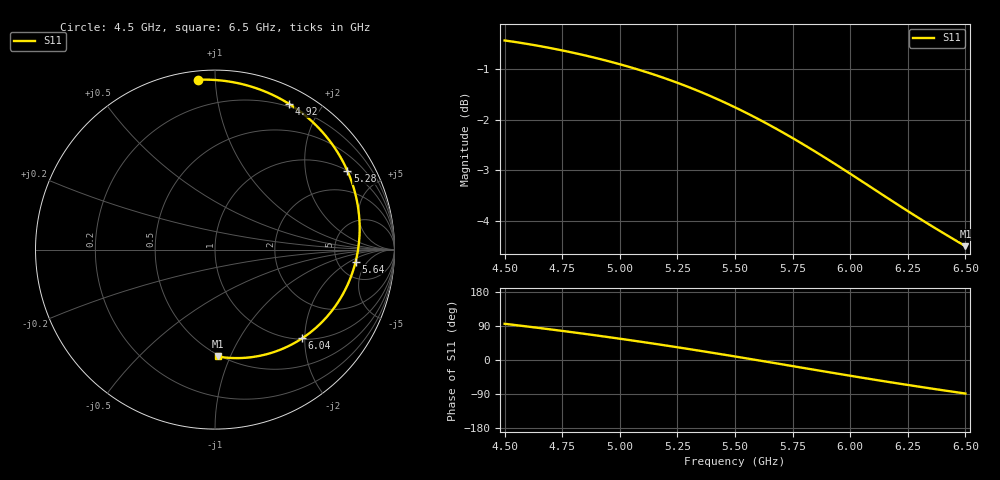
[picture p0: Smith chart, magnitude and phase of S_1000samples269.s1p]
! TOUCHSTONE file generated by CST MICROWAVE STUDIO
! Date and time: Thu Oct 27 14:12:17 2022
! Project name: L.cst
! Parameters = {Di=1.27; Epsilon_r=1.56; InnerDiameter=1.27; Length=2; Lf=10; Lg=60; OuterConductorThickness=0.2921; OuterDiameter=3.6; Wf=3; Wp=41.2; de=1.5; df=6.8; g=0.8; gx=2.44205; gy=4.85537; h=2.34; hf=1.524; px=11.1598; py=13.1957; w=9.7; wx=8.71775; wy=8.34034}
! Header version: 2018
! Port assignment regex: !\s*Touchstone port\s*([0-9]+)\s*=\s*(CST MWS port|CST DS port)\s*([0-9]+|Zmin|Zmax)\s*\(\"(.*)\"\)(\s*mode\s*([0-9]+))?.*
! Touchstone port assignment:
! Touchstone port 1 = CST MWS port 1 ("")
# GHz S DB R 50
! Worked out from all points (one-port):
!   101 points, 4.5 GHz to 6.5 GHz, reference 50 ohm
!   lowest |S11| = -4.5 dB at 6.5 GHz (marker M1), VSWR 3.95, Z = 24.4 - j45 ohm
!   |S11| at or under -10 dB: nowhere
!   S11 on the Smith chart (normalised r, x): 4.5 GHz: 0.05, +0.91; 4.92 GHz: 0.17, +1.62; 5.28 GHz: 1.00, +3.35; 5.64 GHz: 7.45, -2.60; 6.04 GHz: 1.02, -1.94; 6.5 GHz: 0.49, -0.90
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4.5  -0.44 95.6
4.58  -0.49 89.7
4.64  -0.54 85.3
4.76  -0.65 76.0
4.84  -0.73 69.6
4.92  -0.81 63.0
5  -0.91 56.2
5.06  -0.99 50.9
5.14  -1.10 43.8
5.2  -1.19 38.3
5.26  -1.29 32.7
5.28  -1.33 30.8
5.34  -1.43 25.0
5.4  -1.55 19.2
5.5  -1.76 9.3
5.56  -1.89 3.3
5.64  -2.08 -4.8
5.7  -2.24 -11.0
5.76  -2.39 -17.1
5.88  -2.72 -29.4
5.94  -2.89 -35.5
6  -3.07 -41.5
6.04  -3.19 -45.5
6.14  -3.48 -55.4
6.2  -3.66 -61.1
6.26  -3.84 -66.8
6.38  -4.17 -77.8
6.5  -4.50 -88.5
